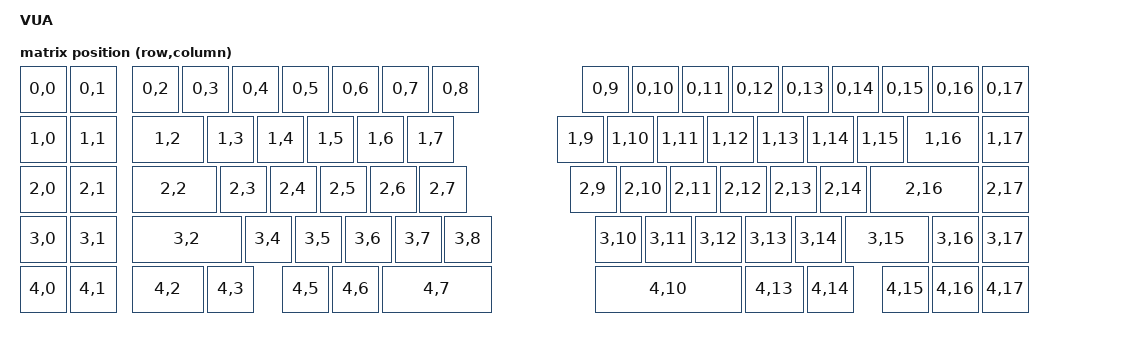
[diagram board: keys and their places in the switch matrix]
/*
 * Copyright (c) 2023 Deemen17
 * SPDX-License-Identifier: MIT
 */

/dts-v1/;
#include <nordic/nrf52840_qiaa.dtsi>
#include <common/nordic/nrf52840_uf2_boot_mode.dtsi>

#include <dt-bindings/led/led.h>
#include <dt-bindings/zmk/matrix_transform.h>
#include <physical_layouts.dtsi>

/ {
    model = "VUA";
    compatible = "deemen17,vua";

    chosen {
        zephyr,code-partition = &code_partition;
        zephyr,sram = &sram0;
        zephyr,flash = &flash0;
        zmk,battery = &vbatt;
        zmk,kscan = &kscan0;
        /*
         * Points at the physical layout rather than at the transform directly.
         * ZMK Studio reads key geometry from a "zmk,physical-layout" node and a
         * bare matrix transform carries none, so choosing the transform here
         * would leave Studio with nothing to draw. The layout wraps the same
         * transform, so key ordering is unchanged.
         */
        zmk,physical-layout = &default_layout;
    };

    behaviors {
        /*
         * Hold-to-reset, wired to two keys per half via kscan sideband entries
         * (see the per-half .dts files). Sideband entries run locally on the
         * half that owns the key, without any keymap processing, so this is how
         * the peripheral can reset itself while disconnected from the central.
         *
         * One action per key, both after a 3 second hold, decided on release.
         * A tap is ignored, so each key keeps its normal meaning.
         */
        hold_rst: hold_rst {
            compatible = "zmk,behavior-hold-reset";
            #binding-cells = <0>;
            hold-time-ms = <3000>;
            display-name = "Hold Reset";
        };

        hold_boot: hold_boot {
            compatible = "zmk,behavior-hold-reset";
            #binding-cells = <0>;
            hold-time-ms = <3000>;
            bootloader;
            display-name = "Hold Bootloader";
        };
    };

    default_transform: keymap_transform_0 {
        compatible = "zmk,matrix-transform";
        columns = <18>;
        rows = <5>;
        map = <
            RC(0,0) RC(0,1)   RC(0,2) RC(0,3) RC(0,4) RC(0,5) RC(0,6) RC(0,7) RC(0,8)       RC(0,9) RC(0,10) RC(0,11) RC(0,12) RC(0,13) RC(0,14) RC(0,15) RC(0,16) RC(0,17)
            RC(1,0) RC(1,1)   RC(1,2) RC(1,3) RC(1,4) RC(1,5) RC(1,6) RC(1,7)               RC(1,9) RC(1,10) RC(1,11) RC(1,12) RC(1,13) RC(1,14) RC(1,15) RC(1,16) RC(1,17)
            RC(2,0) RC(2,1)	  RC(2,2) RC(2,3) RC(2,4) RC(2,5) RC(2,6) RC(2,7)	            RC(2,9) RC(2,10) RC(2,11) RC(2,12) RC(2,13) RC(2,14)          RC(2,16) RC(2,17)
            RC(3,0) RC(3,1)	  RC(3,2)         RC(3,4) RC(3,5) RC(3,6) RC(3,7) RC(3,8)               RC(3,10) RC(3,11) RC(3,12) RC(3,13) RC(3,14) RC(3,15) RC(3,16) RC(3,17)
            RC(4,0) RC(4,1)	  RC(4,2) RC(4,3)         RC(4,5) RC(4,6) RC(4,7)                       RC(4,10)                   RC(4,13) RC(4,14) RC(4,15) RC(4,16) RC(4,17)
        >;
    };

    /*
     * Physical layout: the same 80 key positions as the transform above, plus
     * the geometry ZMK Studio needs to render the board. Positions are in
     * centi-keyunits (100 = 1u), taken from config/info.json, and listed in
     * transform-map order — Studio matches keys to bindings by index, so the
     * two lists must stay in the same order and the same length.
     */
    default_layout: physical_layout_0 {
        compatible = "zmk,physical-layout";
        display-name = "Default";
        transform = <&default_transform>;

        keys  //                     w   h    x    y     rot    rx    ry
            = <&key_physical_attrs 100 100    0    0       0     0     0>   // M1
            , <&key_physical_attrs 100 100  100    0       0     0     0>   // M2
            , <&key_physical_attrs 100 100  225    0       0     0     0>   // Esc
            , <&key_physical_attrs 100 100  325    0       0     0     0>   // 1
            , <&key_physical_attrs 100 100  425    0       0     0     0>   // 2
            , <&key_physical_attrs 100 100  525    0       0     0     0>   // 3
            , <&key_physical_attrs 100 100  625    0       0     0     0>   // 4
            , <&key_physical_attrs 100 100  725    0       0     0     0>   // 5
            , <&key_physical_attrs 100 100  825    0       0     0     0>   // 6
            , <&key_physical_attrs 100 100 1125    0       0     0     0>   // 7
            , <&key_physical_attrs 100 100 1225    0       0     0     0>   // 8
            , <&key_physical_attrs 100 100 1325    0       0     0     0>   // 9
            , <&key_physical_attrs 100 100 1425    0       0     0     0>   // 0
            , <&key_physical_attrs 100 100 1525    0       0     0     0>   // Minus
            , <&key_physical_attrs 100 100 1625    0       0     0     0>   // Equal
            , <&key_physical_attrs 100 100 1725    0       0     0     0>   // Backspace
            , <&key_physical_attrs 100 100 1825    0       0     0     0>   // Backspace
            , <&key_physical_attrs 100 100 1925    0       0     0     0>   // Home

            , <&key_physical_attrs 100 100    0  100       0     0     0>   // M3
            , <&key_physical_attrs 100 100  100  100       0     0     0>   // M4
            , <&key_physical_attrs 150 100  225  100       0     0     0>   // Tab
            , <&key_physical_attrs 100 100  375  100       0     0     0>   // Q
            , <&key_physical_attrs 100 100  475  100       0     0     0>   // W
            , <&key_physical_attrs 100 100  575  100       0     0     0>   // E
            , <&key_physical_attrs 100 100  675  100       0     0     0>   // R
            , <&key_physical_attrs 100 100  775  100       0     0     0>   // T
            , <&key_physical_attrs 100 100 1075  100       0     0     0>   // Y
            , <&key_physical_attrs 100 100 1175  100       0     0     0>   // U
            , <&key_physical_attrs 100 100 1275  100       0     0     0>   // I
            , <&key_physical_attrs 100 100 1375  100       0     0     0>   // O
            , <&key_physical_attrs 100 100 1475  100       0     0     0>   // P
            , <&key_physical_attrs 100 100 1575  100       0     0     0>   // Left Bracket
            , <&key_physical_attrs 100 100 1675  100       0     0     0>   // Right Bracket
            , <&key_physical_attrs 150 100 1775  100       0     0     0>   // Slash
            , <&key_physical_attrs 100 100 1925  100       0     0     0>   // End

            , <&key_physical_attrs 100 100    0  200       0     0     0>   // M5
            , <&key_physical_attrs 100 100  100  200       0     0     0>   // M6
            , <&key_physical_attrs 175 100  225  200       0     0     0>   // Caps Lock
            , <&key_physical_attrs 100 100  400  200       0     0     0>   // A
            , <&key_physical_attrs 100 100  500  200       0     0     0>   // S
            , <&key_physical_attrs 100 100  600  200       0     0     0>   // D
            , <&key_physical_attrs 100 100  700  200       0     0     0>   // F
            , <&key_physical_attrs 100 100  800  200       0     0     0>   // G
            , <&key_physical_attrs 100 100 1100  200       0     0     0>   // H
            , <&key_physical_attrs 100 100 1200  200       0     0     0>   // J
            , <&key_physical_attrs 100 100 1300  200       0     0     0>   // K
            , <&key_physical_attrs 100 100 1400  200       0     0     0>   // L
            , <&key_physical_attrs 100 100 1500  200       0     0     0>   // Scolon
            , <&key_physical_attrs 100 100 1600  200       0     0     0>   // Quote
            , <&key_physical_attrs 225 100 1700  200       0     0     0>   // Enter
            , <&key_physical_attrs 100 100 1925  200       0     0     0>   // PgUp

            , <&key_physical_attrs 100 100    0  300       0     0     0>   // M7
            , <&key_physical_attrs 100 100  100  300       0     0     0>   // M8
            , <&key_physical_attrs 225 100  225  300       0     0     0>   // Shift
            , <&key_physical_attrs 100 100  450  300       0     0     0>   // Z
            , <&key_physical_attrs 100 100  550  300       0     0     0>   // X
            , <&key_physical_attrs 100 100  650  300       0     0     0>   // C
            , <&key_physical_attrs 100 100  750  300       0     0     0>   // V
            , <&key_physical_attrs 100 100  850  300       0     0     0>   // B
            , <&key_physical_attrs 100 100 1150  300       0     0     0>   // N
            , <&key_physical_attrs 100 100 1250  300       0     0     0>   // M
            , <&key_physical_attrs 100 100 1350  300       0     0     0>   // Comma
            , <&key_physical_attrs 100 100 1450  300       0     0     0>   // Dot
            , <&key_physical_attrs 100 100 1550  300       0     0     0>   // Back Slash
            , <&key_physical_attrs 175 100 1650  300       0     0     0>   // Shift
            , <&key_physical_attrs 100 100 1825  300       0     0     0>   // Up
            , <&key_physical_attrs 100 100 1925  300       0     0     0>   // PgDn

            , <&key_physical_attrs 100 100    0  400       0     0     0>   // M9
            , <&key_physical_attrs 100 100  100  400       0     0     0>   // M10
            , <&key_physical_attrs 150 100  225  400       0     0     0>   // Ctrl
            , <&key_physical_attrs 100 100  375  400       0     0     0>   // Gui
            , <&key_physical_attrs 100 100  525  400       0     0     0>   // Alt
            , <&key_physical_attrs 100 100  625  400       0     0     0>   // Fn
            , <&key_physical_attrs 225 100  725  400       0     0     0>   // Space
            , <&key_physical_attrs 300 100 1150  400       0     0     0>   // Space
            , <&key_physical_attrs 125 100 1450  400       0     0     0>   // Alt
            , <&key_physical_attrs 100 100 1575  400       0     0     0>   // Ctrl
            , <&key_physical_attrs 100 100 1725  400       0     0     0>   // Left
            , <&key_physical_attrs 100 100 1825  400       0     0     0>   // Down
            , <&key_physical_attrs 100 100 1925  400       0     0     0>   // Right
            ;
    };

};

/*
 * DC/DC regulators. The pre-HWMv2 config enabled both stages via
 * CONFIG_SOC_DCDC_NRF52X and CONFIG_SOC_DCDC_NRF52X_HV, which are consumed in
 * soc/nordic/nrf52/soc.c; the devicetree equivalents below are what that same
 * code now checks. reg1 is the DCC-pin stage, reg0 the high-voltage DCCH stage.
 */
&reg1 {
    regulator-initial-mode = <NRF5X_REG_MODE_DCDC>;
};

&reg0 {
    status = "okay";
};

&adc {
    status = "okay";
};

&gpiote {
    status = "okay";
};

&gpio0 {
    status = "okay";
};

&gpio1 {
    status = "okay";
};

zephyr_udc0: &usbd {
    status = "okay";
};

&flash0 {
    /*
     * For more information, see:
     * http://docs.zephyrproject.org/latest/devices/dts/flash_partitions.html
     */
    partitions {
        compatible = "fixed-partitions";
        #address-cells = <1>;
        #size-cells = <1>;

        sd_partition: partition@0 {
            reg = <0x00000000 0x00026000>;
        };
        code_partition: partition@26000 {
            reg = <0x00026000 0x000c6000>;
        };

        /*
         * The flash starting at 0x000ec000 and ending at
         * 0x000f3fff is reserved for use by the application.
         */

        /*
         * Storage partition will be used by FCB/LittleFS/NVS
         * if enabled.
         */
        storage_partition: partition@ec000 {
            reg = <0x000ec000 0x00008000>;
        };

        boot_partition: partition@f4000 {
            reg = <0x000f4000 0x0000c000>;
        };
    };
};
